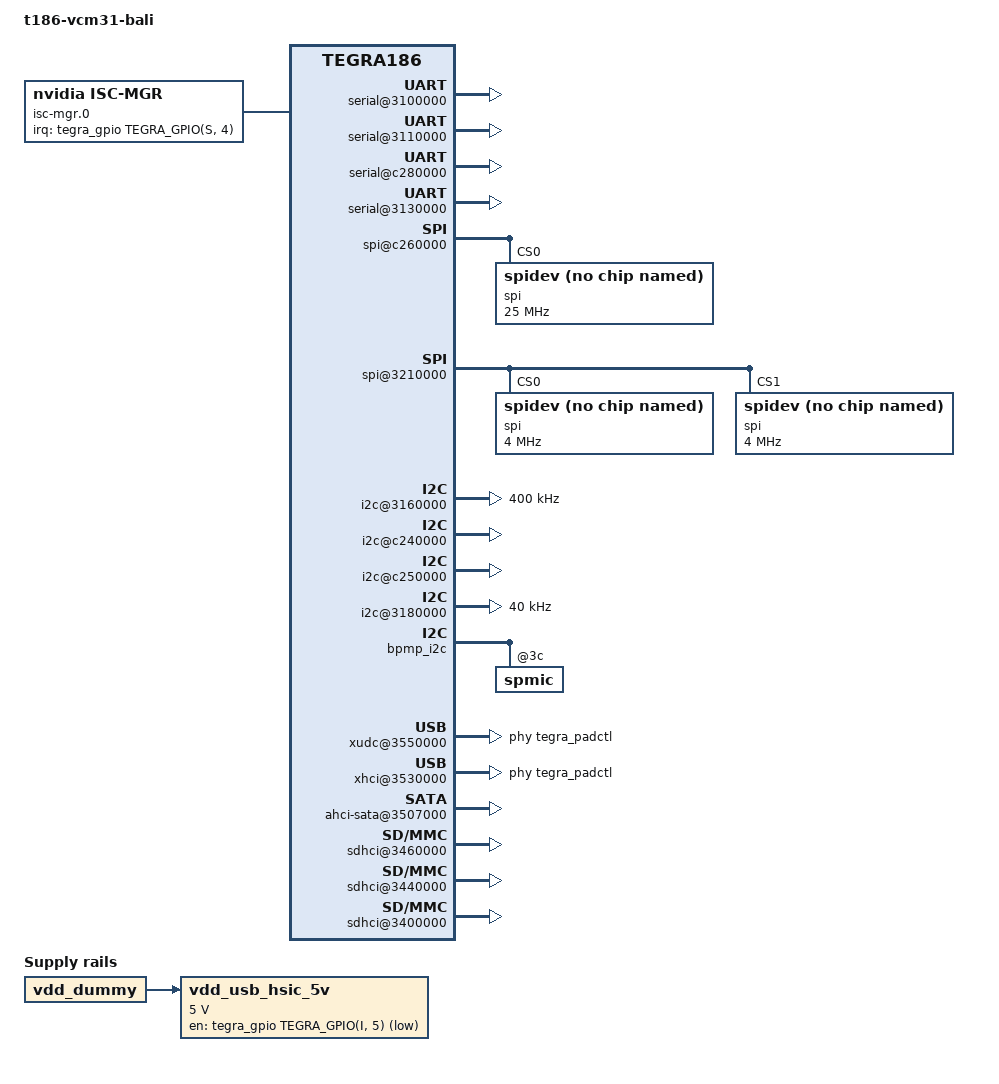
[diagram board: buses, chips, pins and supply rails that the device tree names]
/*
 * tegra186-vcm31-bali-common.dtsi: VCM3.1 based bali(sunstreaker)
 * common dtsi.
 *
 * Copyright (c) 2015-2016, NVIDIA CORPORATION.  All rights reserved.
 *
 * This program is free software; you can redistribute it and/or modify
 * it under the terms of the GNU General Public License as published by
 * the Free Software Foundation; version 2 of the License.
 *
 * This program is distributed in the hope that it will be useful, but WITHOUT
 * ANY WARRANTY; without even the implied warranty of MERCHANTABILITY or
 * FITNESS FOR A PARTICULAR PURPOSE.  See the GNU General Public License for
 * more details.
 */

#include <dt-bindings/types.h>
/dts-v1/;

/memreserve/ 0x80000000 0x00010000;

#include "tegra186-platforms/tegra186-vcm31.dtsi"
#include "tegra186-vcm31-bali-disp.dtsi"
#include "tegra186-platforms/tegra186-vcm31-power-tree-bali.dtsi"

#define EXTCON_NONE		0
#define EXTCON_USB             1
#define EXTCON_USB_Host        2

/ {
        model = "t186-vcm31-bali";
        compatible = "nvidia,t186-vcm31-bali", "nvidia,tegra186";

        nvidia,dtbbuildtime = __DATE__, __TIME__;
        #address-cells = <2>;
        #size-cells = <2>;

	pmc@c360000 {
		io-pad-defaults {
			sdmmc1-hv {
				nvidia,enable-dynamic-pad-voltage;
			};
			sdmmc3-hv {
				nvidia,enable-dynamic-pad-voltage;
			};
		};
	};

        serial@3100000 { /* Tegra UARTA: CSB */
		compatible = "nvidia,tegra186-hsuart";
                status = "okay";
        };

        serial@3110000 { /* Tegra UARTB: DEBUG */
		compatible = "nvidia,tegra210-uart";
                status = "okay";
        };

	serial@c280000 { /* TEGRA UARTC: Bluetooth */
		compatible = "nvidia,tegra186-hsuart";
		nvidia,adjust-baud-rates = <115200 3000000 170>;
		status = "okay";
	};

	serial@3130000 { /* Tegra UARTD: RH */
		compatible = "nvidia,tegra186-hsuart";
		status = "okay";
	};

	spi@c260000 { /* Tegra SPI2: RH, slave */
		status = "okay";
		compatible = "nvidia,tegra186-spi-slave";
		nvidia,slave-ready-gpio = <&tegra_gpio TEGRA_GPIO(V,6) 1>;
		spi@0 {
			compatible = "spidev";
			/* reg = <0> - CS0 */
			/* reg = <1> - CS1 */
			reg = <0>;
			spi-max-frequency = <25000000>;
			spi-cpha;
			spi-cpol;
			controller-data {
				nvidia,variable-length-transfer;
			};
		};
	};

	spi@3210000 { /* Tegra SPI1: master */
		status = "okay";
		spi@0 {				/* gyro */
			compatible = "spidev";
			reg = <0>;
			spi-max-frequency = <4000000>;
			spi-cpha;
			spi-cpol;
			/* NOTE: spidev does not use this property */
			interrupts = <&tegra_gpio TEGRA_GPIO(EE,2) 0>;
		};
		spi@1 {				/* acc */
			compatible = "spidev";
			reg = <1>;
			spi-max-frequency = <4000000>;
			spi-cpha;
			spi-cpol;
			/* NOTE: spidev does not use this property */
			interrupts = <&tegra_gpio TEGRA_GPIO(U,5) 0>;
		};

	};

	i2c@3160000 { /* Tegra I2C1 (I2CA) */
		status = "okay";
		clock-frequency = <400000>;
	};

	i2c@c240000 { /* Tegra I2C2 (I2CB) */
		status = "okay";
		nvidia,clock-always-on;
	};

	i2c@c250000 { /* Tegra I2C8 (I2CC) */
		status = "okay";
	};

	i2c@3180000 { /* Tegra I2C3 (I2CD) */
		status = "okay";
		clock-frequency = <40000>;
	};



	fixed-regulators {
		vdd_usb0_5v: regulator@7 {
			/delete-property/ enable-active-high;
			/delete-property/ gpio-open-drain;
		};

		vdd_usb1_5v: regulator@8 {
			/delete-property/ enable-active-high;
			/delete-property/ gpio-open-drain;
		};

		vdd_wlan1_bt: regulator@99 {
			status = "okay";
			gpio = <&tegra_gpio TEGRA_GPIO(N, 3) 0
				&tegra_gpio TEGRA_GPIO(X, 6) 0 >;
		};
		vdd_wlan2: regulator@98 {
			status = "okay";
			gpio = <&tegra_gpio TEGRA_GPIO(X, 4) 0>;
		};

                vdd_usb_hsic_5v: regulator@97 {
                        compatible = "regulator-fixed";
                        reg = <97>;
                        regulator-name = "vdd-usb-hsic-5v";
                        regulator-min-microvolt = <5000000>;
                        regulator-max-microvolt = <5000000>;
                        gpio = <&tegra_gpio TEGRA_GPIO(I, 5) 0>;
                        vin-supply = <&vdd_dummy>;
                };
	};

	pinctrl@3520000 {
		status = "okay";
		pinctrl-0 = <&bali_padctl_default>;
		pinctrl-names = "default";
		vbus-1-supply = <&vdd_usb0_5v>;
		vbus-2-supply = <&vdd_usb1_5v>;
		vbus-3-supply = <&vdd_dummy>;
		vddio-hsic-supply= <&vdd_usb_hsic_5v>;
		bali_padctl_default: pinmux {
			usb2-std-A-port1 {
				nvidia,lanes = "otg-0";
				nvidia,function = "xusb";
				nvidia,port-cap = <TEGRA_PADCTL_PORT_OTG_CAP>;
			};
			usb2-std-A-port2 {
				nvidia,lanes = "otg-1";
				nvidia,function = "xusb";
				nvidia,port-cap = <TEGRA_PADCTL_PORT_HOST_ONLY>;
			};
			usb2-inic {
				nvidia,lanes = "otg-2";
				nvidia,function = "xusb";
				nvidia,port-cap = <TEGRA_PADCTL_PORT_HOST_ONLY>;
			};
			hsic {
				nvidia,lanes = "hsic-0";
				nvidia,function = "hsic";
			};
		};
	};

	bpmp_i2c {
		spmic: spmic@3c {
			pinctrl-names = "default";
			pinctrl-0 = <&spmic_default>;
			spmic_default: pinmux@0 {
				pin_gpio0 { /* USB ID */
					pins = "gpio0";
					function = "gpio";
				};
			};
		};
	};

	external-connection {
		vbus_id_extcon: extcon@1 {
			compatible = "extcon-gpio-states";
			reg = <0x1>;
			extcon-gpio,name = "VBUS";
			/*
			 * Array of gstate,cstate pairs. Each pair shows how to
			 * map GPIO signal values into cable values as defined
			 * by the consumer in question.  Here:
			 *
			 * cstate[x].bit0 -> VBUS cable
			 * cstate[x].bit1 -> nID cable
			 *
			 * For this platform, set cstate to indicate host mode
			 * always. sysfs writes can be performed to change the
			 * mode if needed from userspace.
			 *
			 * Since we don't support VBUS sensing, if gadget mode
			 * is to be setup for cstate, it should be indicated
			 * that VBUS is always available from the connector.
			 *
			 * We will use PMIC GPIO0 here for gstate (which is
			 * NC in this platform) to maintain compatibility
			 * with T186 reference platform.  Irrespective of
			 * PMIC GPIO0 state (extcon driver will probe for GPIO
			 * state during init time and also if GPIO state
			 * changes by monitoring for GPIO interrupt), cstate
			 * will always indicate host mode.
			 */
			extcon-gpio,cable-states = <0x1 0x2
						0x0 0x2>;
			/* PMIC GPIO 0 */
			gpios = <&spmic 0 0>;
			extcon-gpio,out-cable-name-strings = "USB", "USB-Host";
			extcon-gpio,out-cable-names = <EXTCON_USB EXTCON_USB_Host EXTCON_NONE>;
			#extcon-cells = <1>;
		};
	};

	mailbox@3538000 {
		status = "okay";
	};

	xudc@3550000 {
		status = "okay";
		extcon-cables = <&vbus_id_extcon 0>;
		extcon-cable-names = "vbus";
		#extcon-cells = <1>;
		phys = <&tegra_padctl TEGRA_PADCTL_PHY_UTMI_P(0)>;
		phy-names = "usb2";
	};

	xhci@3530000 {
		status = "okay";
		extcon-cables = <&vbus_id_extcon 1>;
		extcon-cable-names = "id";
		#extcon-cells = <1>;
		phys = <&tegra_padctl TEGRA_PADCTL_PHY_UTMI_P(0)>,
			<&tegra_padctl TEGRA_PADCTL_PHY_UTMI_P(1)>,
			<&tegra_padctl TEGRA_PADCTL_PHY_UTMI_P(2)>;
		phy-names = "utmi-0", "utmi-1", "utmi-2";
	};

	pcie-controller@10003000 {
		status = "disabled";
	};

	ahci-sata@3507000 {
		status = "okay";
	};

	sdhci@3460000 { /* SDMMC_D: Used for eMMC */
		status = "okay";
		uhs-mask = <0x00>;
	};

	sdhci@3440000 { /* SDMMC_C  sd card 4-bit*/
		status = "okay";

                nvidia,sd-device;
		/* 79: enable SDR25, SDR50 ... */
                uhs-mask = <0x79>;
                mmc-ocr-mask = <0x0>;
                cap-sdio-irq;
                disable-dynamic-clock-gating;
		vddio_sdmmc-supply = <&vdd_wlan2>;
	};

	sdhci@3400000 { /* SDMMC_A  sd card 4-bit*/
		status = "okay";

                nvidia,sd-device;
		/* 79: enable SDR25, SDR50 ... */
                uhs-mask = <0x79>;
                mmc-ocr-mask = <0x0>;
                cap-sdio-irq;
                disable-dynamic-clock-gating;
		vddio_sdmmc-supply = <&vdd_wlan1_bt>;
	};

	adma@2930000 {
		dma-channels = <10>;
	};

	ahub {
		arad@290e400 {
			status = "okay";
		};
		i2s@2901000 {
			clocks = <&tegra_car TEGRA186_CLK_I2S1>,
				<&tegra_car TEGRA186_CLK_SYNC_I2S1>,
				<&tegra_car TEGRA186_CLK_I2S3_SYNC_INPUT>,
				<&tegra_car TEGRA186_CLK_SYNC_I2S1>;
		};
		i2s@2901400 {
			clocks = <&tegra_car TEGRA186_CLK_I2S5>,
				<&tegra_car TEGRA186_CLK_SYNC_I2S5>,
				<&tegra_car TEGRA186_CLK_I2S3_SYNC_INPUT>,
				<&tegra_car TEGRA186_CLK_SYNC_I2S5>;
		};
		i2s@2901500 {
			clocks = <&tegra_car TEGRA186_CLK_I2S6>,
				<&tegra_car TEGRA186_CLK_SYNC_I2S6>,
				<&tegra_car TEGRA186_CLK_I2S3_SYNC_INPUT>,
				<&tegra_car TEGRA186_CLK_SYNC_I2S6>;
		};
	};

	sound_ref {
		status = "okay";
		compatible = "nvidia,tegra-audio-t186ref-bali";
		nvidia,model = "tegra186-snd-bali";
		nvidia,num-clk = <8>;
		nvidia,clk-rates = < 282240000	/* PLLA_x11025_RATE */
				     11289600	/* AUD_MCLK_x11025_RATE */
				     45158400	/* PLLA_OUT0_x11025_RATE */
				     45158400	/* AHUB_x11025_RATE */
				     245760000  /* PLLA_x8000_RATE */
				     12288000	/* AUD_MCLK_x8000_RATE */
				     245760000	/* PLLA_OUT0_x8000_RATE */
				     49152000 >;/* AHUB_x8000_RATE */
		clocks =<&tegra_car TEGRA186_CLK_PLLP_OUT0>,
			<&tegra_car TEGRA186_CLK_PLLA>,
			<&tegra_car TEGRA186_CLK_PLL_A_OUT0>,
			<&tegra_car TEGRA186_CLK_AHUB>,
			<&tegra_car TEGRA186_CLK_CLK_M>,
			<&tegra_car TEGRA186_CLK_AUD_MCLK>;
		clock-names = "pll_p_out1", "pll_a", "pll_a_out0", "ahub", "clk_m",
			"extern1";
		resets = <&tegra_car TEGRA186_RESET_AUD_MCLK>;
		reset-names = "extern1_rst";
		nvidia,num-codec-link = <5>;
		nvidia,num-amx = <4>;
		nvidia,num-adx = <4>;
		nvidia,amx-slot-size = <64 16 16 64>;
		nvidia,adx-slot-size = <8 32 4 32>;
		nvidia,amx1-slot-map = <
			/* Ent1 */
			TDM_SLOT_MAP(0, 1, 0)
			TDM_SLOT_MAP(0, 1, 1)
			TDM_SLOT_MAP(0, 1, 2)
			TDM_SLOT_MAP(0, 1, 3)
			TDM_SLOT_MAP(0, 2, 0)
			TDM_SLOT_MAP(0, 2, 1)
			TDM_SLOT_MAP(0, 2, 2)
			TDM_SLOT_MAP(0, 2, 3)

			/* Multi-channel */
			TDM_SLOT_MAP(1, 1, 0)
			TDM_SLOT_MAP(1, 1, 1)
			TDM_SLOT_MAP(1, 1, 2)
			TDM_SLOT_MAP(1, 1, 3)
			TDM_SLOT_MAP(1, 2, 0)
			TDM_SLOT_MAP(1, 2, 1)
			TDM_SLOT_MAP(1, 2, 2)
			TDM_SLOT_MAP(1, 2, 3)
			TDM_SLOT_MAP(1, 3, 0)
			TDM_SLOT_MAP(1, 3, 1)
			TDM_SLOT_MAP(1, 3, 2)
			TDM_SLOT_MAP(1, 3, 3)
			TDM_SLOT_MAP(1, 4, 0)
			TDM_SLOT_MAP(1, 4, 1)
			TDM_SLOT_MAP(1, 4, 2)
			TDM_SLOT_MAP(1, 4, 3)
			TDM_SLOT_MAP(1, 5, 0)
			TDM_SLOT_MAP(1, 5, 1)
			TDM_SLOT_MAP(1, 5, 2)
			TDM_SLOT_MAP(1, 5, 3)
			TDM_SLOT_MAP(1, 6, 0)
			TDM_SLOT_MAP(1, 6, 1)
			TDM_SLOT_MAP(1, 6, 2)
			TDM_SLOT_MAP(1, 6, 3)
			TDM_SLOT_MAP(1, 7, 0)
			TDM_SLOT_MAP(1, 7, 1)
			TDM_SLOT_MAP(1, 7, 2)
			TDM_SLOT_MAP(1, 7, 3)
			TDM_SLOT_MAP(1, 8, 0)
			TDM_SLOT_MAP(1, 8, 1)
			TDM_SLOT_MAP(1, 8, 2)
			TDM_SLOT_MAP(1, 8, 3)

			/* MC Down mix */
			TDM_SLOT_MAP(2, 1, 0)
			TDM_SLOT_MAP(2, 1, 1)
			TDM_SLOT_MAP(2, 2, 0)
			TDM_SLOT_MAP(2, 2, 1)

			/* blank */
			TDM_SLOT_MAP(0, 0, 0)
			TDM_SLOT_MAP(0, 0, 0)
			TDM_SLOT_MAP(0, 0, 0)
			TDM_SLOT_MAP(0, 0, 0)

			/* Ent2 */
			TDM_SLOT_MAP(3, 1, 0)
			TDM_SLOT_MAP(3, 1, 1)
			TDM_SLOT_MAP(3, 1, 2)
			TDM_SLOT_MAP(3, 1, 3)
			TDM_SLOT_MAP(3, 2, 0)
			TDM_SLOT_MAP(3, 2, 1)
			TDM_SLOT_MAP(3, 2, 2)
			TDM_SLOT_MAP(3, 2, 3)

			/* blank */
			TDM_SLOT_MAP(0, 0, 0)
			TDM_SLOT_MAP(0, 0, 0)
			TDM_SLOT_MAP(0, 0, 0)
			TDM_SLOT_MAP(0, 0, 0)
			TDM_SLOT_MAP(0, 0, 0)
			TDM_SLOT_MAP(0, 0, 0)
			TDM_SLOT_MAP(0, 0, 0)
			TDM_SLOT_MAP(0, 0, 0)>;

		nvidia,amx2-slot-map = <
			/* CE_Audio */
			TDM_SLOT_MAP(0, 1, 0)
			TDM_SLOT_MAP(0, 1, 1)
			TDM_SLOT_MAP(0, 0, 0)
			TDM_SLOT_MAP(0, 0, 0)

			/* TTS */
			TDM_SLOT_MAP(1, 1, 0)
			TDM_SLOT_MAP(1, 1, 1)
			TDM_SLOT_MAP(0, 0, 0)
			TDM_SLOT_MAP(0, 0, 0)

			/* Touch */
			TDM_SLOT_MAP(2, 1, 0)
			TDM_SLOT_MAP(2, 1, 1)
			TDM_SLOT_MAP(0, 0, 0)
			TDM_SLOT_MAP(0, 0, 0)

			/* Navi */
			TDM_SLOT_MAP(3, 1, 0)
			TDM_SLOT_MAP(3, 1, 1)
			TDM_SLOT_MAP(0, 0, 0)
			TDM_SLOT_MAP(0, 0, 0)>;

		nvidia,amx3-slot-map = <
			/* Ref */
			TDM_SLOT_MAP(0, 1, 0)
			TDM_SLOT_MAP(0, 1, 1)
			TDM_SLOT_MAP(0, 0, 0)
			TDM_SLOT_MAP(0, 0, 0)
			/* Mic1 */
			TDM_SLOT_MAP(0, 2, 0)
			TDM_SLOT_MAP(0, 2, 1)
			TDM_SLOT_MAP(0, 0, 0)
			TDM_SLOT_MAP(0, 0, 0)
			/* Mic2 */
			TDM_SLOT_MAP(0, 3, 0)
			TDM_SLOT_MAP(0, 3, 1)
			TDM_SLOT_MAP(0, 0, 0)
			TDM_SLOT_MAP(0, 0, 0)

			/* Downlink */
			TDM_SLOT_MAP(1, 1, 0)
			TDM_SLOT_MAP(1, 1, 1)
			TDM_SLOT_MAP(0, 0, 0)
			TDM_SLOT_MAP(0, 0, 0)>;

		nvidia,amx4-slot-map = <
			/* bytes 0-7 Ent1 */
			TDM_SLOT_MAP(0, 1, 0)
			TDM_SLOT_MAP(0, 1, 1)
			TDM_SLOT_MAP(0, 1, 2)
			TDM_SLOT_MAP(0, 1, 3)
			TDM_SLOT_MAP(0, 2, 0)
			TDM_SLOT_MAP(0, 2, 1)
			TDM_SLOT_MAP(0, 2, 2)
			TDM_SLOT_MAP(0, 2, 3)

			/* bytes 8-39 multi-channel */
			TDM_SLOT_MAP(0, 3, 0)
			TDM_SLOT_MAP(0, 3, 1)
			TDM_SLOT_MAP(0, 3, 2)
			TDM_SLOT_MAP(0, 3, 3)
			TDM_SLOT_MAP(0, 4, 0)
			TDM_SLOT_MAP(0, 4, 1)
			TDM_SLOT_MAP(0, 4, 2)
			TDM_SLOT_MAP(0, 4, 3)
			TDM_SLOT_MAP(0, 5, 0)
			TDM_SLOT_MAP(0, 5, 1)
			TDM_SLOT_MAP(0, 5, 2)
			TDM_SLOT_MAP(0, 5, 3)
			TDM_SLOT_MAP(0, 6, 0)
			TDM_SLOT_MAP(0, 6, 1)
			TDM_SLOT_MAP(0, 6, 2)
			TDM_SLOT_MAP(0, 6, 3)
			TDM_SLOT_MAP(0, 7, 0)
			TDM_SLOT_MAP(0, 7, 1)
			TDM_SLOT_MAP(0, 7, 2)
			TDM_SLOT_MAP(0, 7, 3)
			TDM_SLOT_MAP(0, 8, 0)
			TDM_SLOT_MAP(0, 8, 1)
			TDM_SLOT_MAP(0, 8, 2)
			TDM_SLOT_MAP(0, 8, 3)
			TDM_SLOT_MAP(0, 9, 0)
			TDM_SLOT_MAP(0, 9, 1)
			TDM_SLOT_MAP(0, 9, 2)
			TDM_SLOT_MAP(0, 9, 3)
			TDM_SLOT_MAP(0, 10, 0)
			TDM_SLOT_MAP(0, 10, 1)
			TDM_SLOT_MAP(0, 10, 2)
			TDM_SLOT_MAP(0, 10, 3)

			/* bytes 40-43 MC down mix */
			TDM_SLOT_MAP(0, 11, 2)
			TDM_SLOT_MAP(0, 11, 3)
			TDM_SLOT_MAP(0, 11, 0)
			TDM_SLOT_MAP(0, 11, 1)

			/* I2S3 is configured for 32 bit data
			   So we need to take care of byte ordering
			   for 16 bit sources */

			/* bytes 46-47 TTS */
			TDM_SLOT_MAP(1, 2, 0)
			TDM_SLOT_MAP(1, 2, 1)

			/* bytes 44-45 CE audio */
			TDM_SLOT_MAP(1, 1, 0)
			TDM_SLOT_MAP(1, 1, 1)

			/* bytes 50-51 Navi */
			TDM_SLOT_MAP(1, 4, 0)
			TDM_SLOT_MAP(1, 4, 1)

			/* bytes 48-49 Touch */
			TDM_SLOT_MAP(1, 3, 0)
			TDM_SLOT_MAP(1, 3, 1)

			/* bytes 52-53 Tel */
			TDM_SLOT_MAP(0, 13, 2)
			TDM_SLOT_MAP(0, 13, 3)

			/* bytes 54-61 Ent2 */
			TDM_SLOT_MAP(2, 1, 0)
			TDM_SLOT_MAP(2, 1, 1)
			TDM_SLOT_MAP(0, 14, 2)
			TDM_SLOT_MAP(0, 14, 3)
			TDM_SLOT_MAP(0, 13, 0)
			TDM_SLOT_MAP(0, 13, 1)
			TDM_SLOT_MAP(0, 0, 0)
			TDM_SLOT_MAP(0, 0, 0)

			/* bytes 62-63 zeros */
			TDM_SLOT_MAP(0, 14, 0)
			TDM_SLOT_MAP(0, 14, 1)>;

		nvidia,adx1-slot-map = <
			TDM_SLOT_MAP(0, 2, 0)
			TDM_SLOT_MAP(0, 2, 1)

			TDM_SLOT_MAP(0, 1, 0)
			TDM_SLOT_MAP(0, 1, 1)

			TDM_SLOT_MAP(0, 0, 0)
			TDM_SLOT_MAP(0, 0, 0)

			TDM_SLOT_MAP(0, 3, 0)
			TDM_SLOT_MAP(0, 3, 1)>;

		nvidia,adx3-slot-map = <
			TDM_SLOT_MAP(0, 1, 0)
			TDM_SLOT_MAP(0, 1, 1)
			TDM_SLOT_MAP(1, 1, 0)
			TDM_SLOT_MAP(1, 1, 1)>;

		nvidia,audio-routing =
			"Headphone-x", "x OUT",
			"x IN", "LineIn-x",
			"Headphone-y", "y OUT",
			"y IN", "LineIn-y",
			"Headphone-d", "d OUT",
			"d IN", "LineIn-d",
			"Headphone-z", "z OUT",
			"z IN", "LineIn-z",
			"Headphone-w", "w OUT",
			"w IN", "LineIn-w";

		nvidia,xbar = <&tegra_axbar>;

		nvidia,dai-link-1 {
			link-name = "bali-audio-dsp-tdm1-1";
			cpu-dai = <&tegra_i2s3>;
			codec-dai = <&spdif_dit0>;
			cpu-dai-name = "I2S3";
			codec-dai-name = "dit-hifi";
			tx-mask = <0xFFFF>;
			rx-mask = <0xFFFF>;
			format = "dsp_b";
			bitclock-master;
			frame-master;
			bitclock-inversion;
			frame-inversion;
			bit-format = "s32_le";
			bclk_ratio = <1>;
			srate = <48000>;
			num-channel = <16>;
			name-prefix = "x";
		};

		nvidia,dai-link-2 {
			link-name = "bali-audio-dsp-tdm1-2";
			cpu-dai = <&tegra_i2s1>;
			codec-dai = <&spdif_dit1>;
			cpu-dai-name = "I2S1";
			codec-dai-name = "dit-hifi";
			tx-mask = <0xFFFF>;
			rx-mask = <0xFFFF>;
			format = "dsp_b";
			bitclock-slave;
			frame-slave;
			bitclock-inversion;
			frame-inversion;
			bit-format = "s32_le";
			bclk_ratio = <1>;
			srate = <48000>;
			num-channel = <16>;
			name-prefix = "y";
		};

		nvidia,dai-link-3 {
			link-name = "bt-playback";
			cpu-dai = <&tegra_i2s2>;
			codec-dai = <&spdif_dit2>;
			cpu-dai-name = "I2S2";
			codec-dai-name = "dit-hifi";
			tx-mask = <0x1>;
			rx-mask = <0x1>;
			format = "dsp_a";
			bitclock-master;
			frame-master;
			bitclock-inversion;
			frame-inversion;
			bit-format = "s16_le";
			bclk_ratio = <8>;
			srate = <16000>;
			num-channel = <1>;
			name-prefix = "d";
		};

		nvidia,dai-link-4 {
			link-name = "bali-avb-dummy-1";
			cpu-dai = <&tegra_i2s5>;
			codec-dai = <&spdif_dit3>;
			cpu-dai-name = "I2S5";
			codec-dai-name = "dit-hifi";
			format = "i2s";
			bitclock-slave;
			frame-slave;
			bit-format = "s32_le";
			bclk_ratio = <8>;
			srate = <48000>;
			num-channel = <2>;
			name-prefix = "z";
		};


		nvidia,dai-link-5 {
			link-name = "bali-avb-dummy-2";
			cpu-dai = <&tegra_i2s6>;
			codec-dai = <&spdif_dit4>;
			cpu-dai-name = "I2S6";
			codec-dai-name = "dit-hifi";
			format = "i2s";
			bitclock-slave;
			frame-slave;
			bit-format = "s32_le";
			bclk_ratio = <8>;
			srate = <48000>;
			num-channel = <2>;
			name-prefix = "w";
		};
	};

	adsp_audio {
		compr-ops = <0>;
		status = "okay";
		num-plugin = <3>;
		plugin-info-1 {
			plugin-name = "reverb";
			firmware-name = "libnvreverbfx.elf";
			widget-name = "REVERB";
			param-type = <2>; /* SNDRV_CTL_ELEM_TYPE_INTEGER */
		};
		plugin-info-2 {
			plugin-name = "wire";
			firmware-name = "libnvwirefx.elf";
			widget-name = "WIRE";
		};
		plugin-info-3 {
			plugin-name = "ssewrapper";
			firmware-name = "libnvssewrapperfx.elf";
			widget-name = "SSEWRAPPER";
		};
	};

	mttcan@c310000 {
		status = "disabled";
	};

	mttcan@c320000 {
		status = "disabled";
	};

	isc-mgr.0 {
		compatible = "nvidia,isc-mgr";
		i2c-bus = <7>;
		csi-port = <0>;
		interrupt-parent = <&tegra_gpio>;
		interrupts = <TEGRA_GPIO(S, 4) 2>;
		status = "okay";
	};

	isc-mgr.1 {
		compatible = "nvidia,isc-mgr";
		i2c-bus = <7>;
		csi-port = <2>;
		status = "okay";
	};

	isc-mgr.2 {
		compatible = "nvidia,isc-mgr";
		i2c-bus = <7>;
		csi-port = <4>;
		status = "okay";
	};

	arm-pmu {
		status = "okay";
	};

	cpus {
		status = "disabled";
	};

	bthrot_cdev {
		gpu_balanced {
			throttle_table = <
				1705000	1551000	932000	4294967295
				1683701	1532070	917931	4294967295
				1662403	1513141	903862	4294967295
				1641104	1494212	889794	4294967295
				1619806	1475283	875725	4294967295
				1598507	1456353	861656	4294967295
				1577209	1437424	847588	4294967295
				1555910	1418495	833519	4294967295
				1534612	1399566	819450	4294967295
				1513313	1380636	805382	4294967295
				1492015	1361707	791313	4294967295
				1470716	1342778	777245	4294967295
				1449418	1323849	763176	4294967295
				1428120	1304920	749107	4294967295
				1406821	1285990	735039	4294967295
				1385523	1267061	720970	4294967295
				1364224	1248132	706901	4294967295
				1342926	1229203	692833	4294967295
				1321627	1210273	678764	4294967295
				1300329	1191344	664696	4294967295
				1279030	1172415	650627	4294967295
				1257732	1153486	636558	4294967295
				1236433	1134556	622490	4294967295
				1215135	1115627	608421	4294967295
				1193836	1096698	594352	4294967295
				1172538	1077769	580284	4294967295
				1151240	1058840	566215	4294967295
				1129941	1039910	552147	4294967295
				1108643	1020981	538078	4294967295
				1087344	1002052	524009	4294967295
				1066046	983123	509941	4294967295
				1044747	964193	495872	4294967295
				1023449	945264	481803	4294967295
				1002150	926335	467735	4294967295
				980852	907406	453666	4294967295
				959553	888476	439598	4294967295
				938255	869547	425529	4294967295
				916956	850618	411460	4294967295
				895658	831689	397392	4294967295
				874360	812760	383323	4294967295
				853061	793830	369254	4294967295
				831763	774901	355186	4294967295
				810464	755972	341117	4294967295
				789166	737043	327049	4294967295
				767867	718113	312980	4294967295
				746569	699184	298911	4294967295
				725270	680255	284843	4294967295
				703972	661326	270774	4294967295
				682673	642396	256705	4294967295
				661375	623467	242637	4294967295
				640076	604538	228568	4294967295
				618778	585609	214500	4294967295
			>;
		};
		cpu_balanced {
			throttle_table = <
				1705000	1551000	4294967295	4294967295
				1683701	1532070	4294967295	4294967295
				1662403	1513141	4294967295	4294967295
				1641104	1494212	4294967295	4294967295
				1619806	1475283	4294967295	4294967295
				1598507	1456353	4294967295	4294967295
				1577209	1437424	4294967295	4294967295
				1555910	1418495	4294967295	4294967295
				1534612	1399566	4294967295	4294967295
				1513313	1380636	4294967295	4294967295
				1492015	1361707	1007000	4294967295
				1470716	1342778	992590	4294967295
				1449418	1323849	978181	4294967295
				1428120	1304920	963772	4294967295
				1406821	1285990	949363	4294967295
				1385523	1267061	934954	4294967295
				1364224	1248132	920545	4294967295
				1342926	1229203	906136	4294967295
				1321627	1210273	891727	4294967295
				1300329	1191344	877318	4294967295
				1279030	1172415	862909	4294967295
				1257732	1153486	848500	4294967295
				1236433	1134556	834090	4294967295
				1215135	1115627	819681	4294967295
				1193836	1096698	805272	4294967295
				1172538	1077769	790863	4294967295
				1151240	1058840	776454	4294967295
				1129941	1039910	762045	4294967295
				1108643	1020981	747636	4294967295
				1087344	1002052	733227	4294967295
				1066046	983123	718818	4294967295
				1044747	964193	704409	4294967295
				1023449	945264	690000	4294967295
				1002150	926335	675590	4294967295
				980852	907406	661181	4294967295
				959553	888476	646772	4294967295
				938255	869547	632363	4294967295
				916956	850618	617954	4294967295
				895658	831689	603545	4294967295
				874360	812760	589136	4294967295
				853061	793830	574727	4294967295
				831763	774901	560318	4294967295
				810464	755972	545909	4294967295
				789166	737043	531500	4294967295
				767867	718113	517090	4294967295
				746569	699184	502681	4294967295
				725270	680255	488272	4294967295
				703972	661326	473863	4294967295
				682673	642396	459454	4294967295
				661375	623467	445045	4294967295
				640076	604538	430636	4294967295
				618778	585609	416227	4294967295
				597480	566680	401818	4294967295
				576181	547750	387409	4294967295
				554883	528821	373000	4294967295
				533584	509892	358590	4294967295
				512286	490963	344181	4294967295
				490987	472033	329772	4294967295
				469689	453104	315363	4294967295
				448390	434175	300954	4294967295
				427092	415246	286545	4294967295
				405793	396316	272136	4294967295
				384495	377387	257727	4294967295
				363196	358458	243318	4294967295
				341898	339529	228909	4294967295
				320600	320600	214500	4294967295
			>;
		};
	};


	thermal-zones {
		Tboard_tegra {
			status = "disabled";
		};

		BCPU-therm {
			trips {
				trip_bthrot {
					temperature = <127000>; /*<88500>;*/
				};
			};
		};

		MCPU-therm {
			trips {
				trip_bthrot {
					temperature = <127000>; /*<88500>;*/
				};
			};
		};

		AO-therm {
			trips {
				trip_bthrot {
					temperature = <127000>; /*<89500>;*/
				};
			};
		};
	};

        ptm_a57_0: ptm@9840000 {
                status = "okay";
        };

        ptm_a57_1: ptm@9940000 {
                status = "okay";
        };

        ptm_a57_2: ptm@9a40000 {
                status = "okay";
        };

        ptm_a57_3: ptm@9b40000 {
                status = "okay";
        };

        funnel_bccplex@9010000 {
                status = "okay";
        };

        funnel_major@8010000 {
                status = "okay";
        };

        replicator@0x8040000 {
                status = "okay";
        };

        etf@8030000 {
                status = "okay";
        };

        tpiu@8060000 {
                status = "okay";
        };

	pmc-iopower {
		status = "disabled";
	};

	cpus {
		status = "disabled";

	};

	bluedroid_pm {
		status = "disabled";
	};

	bcmdhd_pcie_wlan {
		status = "disabled";
	};
};

